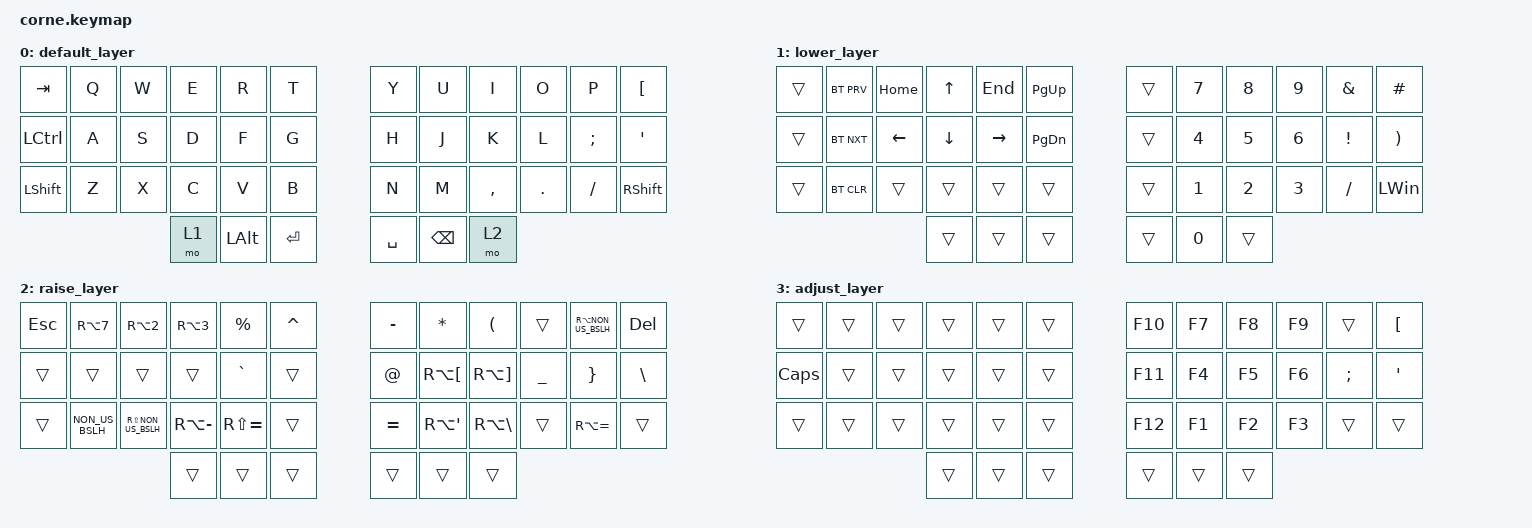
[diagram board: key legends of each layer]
/*
 * Copyright (c) 2020 The ZMK Contributors
 *
 * SPDX-License-Identifier: MIT
 */

#include <behaviors.dtsi>
#include <dt-bindings/zmk/keys.h>
#include <dt-bindings/zmk/bt.h>

// setting longer time for mod-tap to trigger
&mt {
    tapping-term-ms = <500>;
};
/ {
    conditional_layers {
        compatible = "zmk,conditional-layers";
        adjust_layer {
            if-layers = <1 2>;
            then-layer = <3>;
        };
    };
};       
/ {
        keymap {
                compatible = "zmk,keymap";

                default_layer {
// -----------------------------------------------------------------------------------------
// | TAB |  Q  |  W  |  E  |  R  |  T  |               |  Y  |  U  |  I  |  O  |  P  |  ü  |
// | CTR |  A  |  S  |  D  |  F  |  G  |               |  H  |  J  |  K  |  L  |  ö  |  ä  |
// | SHT |  Z  |  X  |  C  |  V  |  B  |               |  N  |  M  |  ,  |  .  |  -  | SHT |
//                   | LOW | ALT | ENT |               | SPC | BSP | RSE |
                        bindings = <
   &kp TAB    &kp Q  &kp W  &kp E  &kp R    &kp T           &kp Y      &kp U     &kp I      &kp O    &kp P     &kp LBKT
   &kp LCTRL  &kp A  &kp S  &kp D  &kp F    &kp G           &kp H      &kp J     &kp K      &kp L    &kp SEMI  &kp SQT
   &kp LSHFT  &kp Z  &kp X  &kp C  &kp V    &kp B           &kp N      &kp M     &kp COMMA  &kp DOT  &kp FSLH  &kp RSHFT
                            &mo 1  &kp LALT &kp ENTER       &kp SPACE  &kp BSPC  &mo 2
                        >;
                };

                lower_layer {
// -----------------------------------------------------------------------------------------
// |     | BTP | HME | UP  | END | PGU |               |     |  7  |  8  |  9  |  /  |  *  |
// |     | BTN | LFT | DWN | RGT | PGD |               |     |  4  |  5  |  6  |  +  |  =  |
// |     | BTC |     |     |     |     |               |     |  1  |  2  |  3  |  -  | WIN |
//                   |     |     |     |               |     |  0  |     |
                        bindings = <
   &trans  &bt BT_PRV  &kp HOME  &kp UP     &kp END    &kp PG_UP       &trans  &kp N7  &kp N8  &kp N9  &kp AMPS  &kp HASH
   &trans  &bt BT_NXT  &kp LEFT  &kp DOWN   &kp RIGHT  &kp PG_DN       &trans  &kp N4  &kp N5  &kp N6  &kp EXCL  &kp RPAR
   &trans  &bt BT_CLR  &trans    &trans     &trans     &trans          &trans  &kp N1  &kp N2  &kp N3  &kp FSLH  &kp LWIN
                                 &trans     &trans     &trans          &trans  &kp N0  &trans
                        >;
                };

                raise_layer {
// -----------------------------------------------------------------------------------------
// | ESC | "|" |  @  |  #  |  %  |  &  |               |  '  |  (  |  )  |     |  \  | DEL |
// |     |     |     |     |  §  |     |               |  "  |  [  |  ]  |  ?  |  !  |  $  |
// |     |  <  |  >  |  ´  |  `  |     |               |  ^  |  {  |  }  |     |  ~  |     |
//                   |     |     |     |               |     |     |     |
                        bindings = <
   &kp ESC  &kp RA(N7)       &kp RA(N2)           &kp RA(N3)     &kp PRCNT      &kp CARET           &kp MINUS  &kp STAR      &kp LPAR      &trans     &kp RA(NON_US_BSLH)  &kp DEL
   &trans   &trans           &trans               &trans         &kp GRAVE      &trans              &kp AT     &kp RA(LBKT)  &kp RA(RBKT)  &kp UNDER  &kp RBRC             &kp BSLH
   &trans   &kp NON_US_BSLH  &kp RS(NON_US_BSLH)  &kp RA(MINUS)  &kp RS(EQUAL)  &trans              &kp EQUAL  &kp RA(SQT)   &kp RA(BSLH)  &trans     &kp RA(EQUAL)        &trans
                       	                          &trans         &trans         &trans              &trans     &trans        &trans
                        >;
                };

                adjust_layer {
// -----------------------------------------------------------------------------------------
// |     |     |     |     |     |     |               |     |  F7 |  F8 |  F9 |     |  ö  |
// |     |     |     |     |     |     |               |     |  F4 |  F5 |  F6 |  ü  |  ä  |
// |     |     |     |     |     |     |               |     |  F1 |  F2 |  F3 |     |     |
//                   |     |     |     |               |     |     |     |
                        bindings = <
   &trans    &trans  &trans  &trans  &trans  &trans       &kp F10  &kp F7  &kp F8  &kp F9  &trans    &kp LBKT
   &kp CAPS  &trans  &trans  &trans  &trans  &trans       &kp F11  &kp F4  &kp F5  &kp F6  &kp SEMI  &kp SQT
   &trans    &trans  &trans  &trans  &trans  &trans       &kp F12  &kp F1  &kp F2  &kp F3  &trans    &trans 
                             &trans  &trans  &trans       &trans   &trans  &trans
                        >;
                };
        };
};
